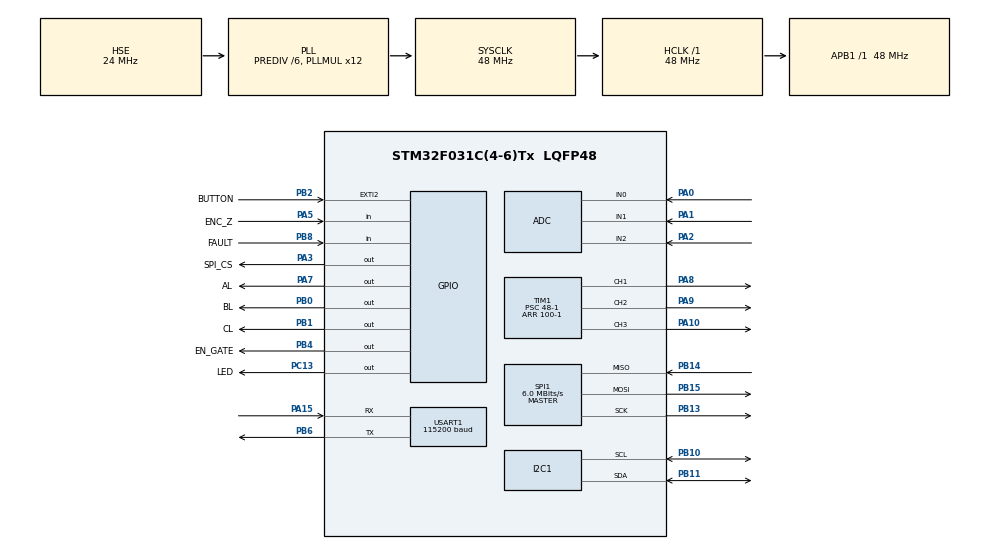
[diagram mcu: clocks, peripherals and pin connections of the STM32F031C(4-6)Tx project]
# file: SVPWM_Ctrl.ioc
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I2C1.Timing=0x20303E5D
Mcu.Family=STM32F0
Mcu.Name=STM32F031C(4-6)Tx
Mcu.Package=LQFP48
NVIC.EXTI2_3_IRQn=true\:0\:0\:false\:false\:true\:true\:true\:true
PA0.Mode=IN0
PA0.Signal=ADC_IN0
PA1.Mode=IN1
PA1.Signal=ADC_IN1
PA10.GPIO_PuPd=GPIO_PULLDOWN
PA10.GPIO_Speed=GPIO_SPEED_FREQ_HIGH
PA10.Signal=S_TIM1_CH3
PA13.Mode=Serial_Wire
PA13.Signal=SYS_SWDIO
PA14.Mode=Serial_Wire
PA14.Signal=SYS_SWCLK
PA15.Mode=Asynchronous
PA15.Signal=USART1_RX
PA2.Mode=IN2
PA2.Signal=ADC_IN2
PA3.GPIO_Label=SPI_CS
PA3.GPIO_PuPd=GPIO_PULLUP
PA3.GPIO_Speed=GPIO_SPEED_FREQ_HIGH
PA3.PinState=GPIO_PIN_SET
PA3.Signal=GPIO_Output
PA5.GPIO_Label=ENC_Z
PA5.Signal=GPIO_Input
PA7.GPIO_Label=AL
PA7.GPIO_PuPd=GPIO_PULLDOWN
PA7.GPIO_Speed=GPIO_SPEED_FREQ_HIGH
PA7.Signal=GPIO_Output
PA8.GPIO_PuPd=GPIO_PULLDOWN
PA8.GPIO_Speed=GPIO_SPEED_FREQ_HIGH
PA8.Signal=S_TIM1_CH1
PA9.GPIO_PuPd=GPIO_PULLDOWN
PA9.GPIO_Speed=GPIO_SPEED_FREQ_HIGH
PA9.Signal=S_TIM1_CH2
PB0.GPIO_Label=BL
PB0.GPIO_PuPd=GPIO_PULLDOWN
PB0.GPIO_Speed=GPIO_SPEED_FREQ_HIGH
PB0.Signal=GPIO_Output
PB1.GPIO_Label=CL
PB1.GPIO_PuPd=GPIO_PULLDOWN
PB1.GPIO_Speed=GPIO_SPEED_FREQ_HIGH
PB1.Signal=GPIO_Output
PB10.Mode=I2C
PB10.Signal=I2C1_SCL
PB11.Mode=I2C
PB11.Signal=I2C1_SDA
PB13.GPIO_PuPd=GPIO_PULLUP
PB13.Mode=Full_Duplex_Master
PB13.Signal=SPI1_SCK
PB14.GPIO_PuPd=GPIO_PULLUP
PB14.Mode=Full_Duplex_Master
PB14.Signal=SPI1_MISO
PB15.GPIO_PuPd=GPIO_PULLUP
PB15.Mode=Full_Duplex_Master
PB15.Signal=SPI1_MOSI
PB2.GPIO_Label=BUTTON
PB2.GPIO_ModeDefaultEXTI=GPIO_MODE_IT_FALLING
PB2.GPIO_PuPd=GPIO_PULLUP
PB2.Signal=GPXTI2
PB4.GPIO_Label=EN_GATE
PB4.GPIO_PuPd=GPIO_PULLUP
PB4.PinState=GPIO_PIN_SET
PB4.Signal=GPIO_Output
PB6.Mode=Asynchronous
PB6.Signal=USART1_TX
PB8.GPIO_Label=FAULT
PB8.GPIO_PuPd=GPIO_PULLUP
PB8.Signal=GPIO_Input
PC13.GPIO_Label=LED
PC13.PinState=GPIO_PIN_SET
PC13.Signal=GPIO_Output
PF0-OSC_IN.Mode=HSE-External-Oscillator
PF0-OSC_IN.Signal=RCC_OSC_IN
PF1-OSC_OUT.Mode=HSE-External-Oscillator
PF1-OSC_OUT.Signal=RCC_OSC_OUT
ProjectManager.HeapSize=0x200
ProjectManager.StackSize=0x400
ProjectManager.TargetToolchain=Makefile
RCC.AHBFreq_Value=48000000
RCC.APB1Freq_Value=48000000
RCC.APB1TimFreq_Value=48000000
RCC.HCLKFreq_Value=48000000
RCC.HSE_VALUE=24000000
RCC.I2c1ClockSelection=RCC_I2C1CLKSOURCE_SYSCLK
RCC.PLLDivider=RCC_PREDIV_DIV6
RCC.PLLMUL=RCC_PLL_MUL12
RCC.PLLSourceVirtual=RCC_PLLSOURCE_HSE
RCC.SYSCLKFreq_VALUE=48000000
RCC.SYSCLKSource=RCC_SYSCLKSOURCE_PLLCLK
SH.S_TIM1_CH1.0=TIM1_CH1,PWM Generation1 CH1
SH.S_TIM1_CH2.0=TIM1_CH2,PWM Generation2 CH2
SH.S_TIM1_CH3.0=TIM1_CH3,PWM Generation3 CH3
SPI1.BaudRatePrescaler=SPI_BAUDRATEPRESCALER_8
SPI1.CLKPhase=SPI_PHASE_2EDGE
SPI1.CLKPolarity=SPI_POLARITY_LOW
SPI1.CalculateBaudRate=6.0 MBits/s
SPI1.DataSize=SPI_DATASIZE_16BIT
SPI1.Direction=SPI_DIRECTION_2LINES
SPI1.Mode=SPI_MODE_MASTER
SPI1.VirtualType=VM_MASTER
TIM1.Channel-PWM\ Generation1\ CH1=TIM_CHANNEL_1
TIM1.Channel-PWM\ Generation2\ CH2=TIM_CHANNEL_2
TIM1.Channel-PWM\ Generation3\ CH3=TIM_CHANNEL_3
TIM1.Period=100-1
TIM1.Prescaler=48-1
USART1.BaudRate=115200
USART1.VirtualMode-Asynchronous=VM_ASYNC
board=custom

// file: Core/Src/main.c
/* USER CODE BEGIN Header */
/**
 ******************************************************************************
 * @file           : main.c
 * @brief          : Main program body
 ******************************************************************************
 * @attention
 *
 * Copyright (c) 2025 STMicroelectronics.
 * All rights reserved.
 *
 * This software is licensed under terms that can be found in the LICENSE file
 * in the root directory of this software component.
 * If no LICENSE file comes with this software, it is provided AS-IS.
 *
 ******************************************************************************
 */
/* USER CODE END Header */
#include "main.h"
#include "adc.h"
#include "i2c.h"
#include "spi.h"
#include "tim.h"
#include "usart.h"
#include "gpio.h"

/* USER CODE BEGIN Includes */
#include "drv8301.h"
#include "utils.h"
/* USER CODE END Includes */

void SystemClock_Config(void);

int main(void)
{

  /* MCU Configuration--------------------------------------------------------*/

  /* Reset of all peripherals, Initializes the Flash interface and the Systick. */
  HAL_Init();

  /* Configure the system clock */
  SystemClock_Config();

  /* Initialize all configured peripherals */
  MX_GPIO_Init();
  MX_ADC_Init();
  MX_I2C1_Init();
  MX_SPI1_Init();
  MX_USART1_UART_Init();
  MX_TIM1_Init();
  /* USER CODE BEGIN 2 */
  __HAL_TIM_SetCompare(&htim1, TIM_CHANNEL_1, 50);
  __HAL_TIM_SetCompare(&htim1, TIM_CHANNEL_2, 50);
  __HAL_TIM_SetCompare(&htim1, TIM_CHANNEL_3, 50);

  int16_t ret = 0;
  RegisterFile regs_;
  ret = DRV8301_Config(&regs_, 40.0f, NULL);
  if (ret != 0)
  {
    printf("DRV8301_Config Err:%d\r\n", ret);
  }
  ret = DRV8301_Init(&regs_);
  if (ret != 0)
  {
    printf("DRV8301_Init Err:%d\r\n", ret);
  }

  /* USER CODE END 2 */

  /* Infinite loop */
  while (1)
  {

    /* USER CODE BEGIN 3 */
    DRV8301_Motor_test(1);
    // HAL_GPIO_TogglePin(LED_GPIO_Port, LED_Pin);
		// HAL_Delay(1*1000);
  }
  /* USER CODE END 3 */
}

void SystemClock_Config(void)
{
  RCC_OscInitTypeDef RCC_OscInitStruct = {0};
  RCC_ClkInitTypeDef RCC_ClkInitStruct = {0};
  RCC_PeriphCLKInitTypeDef PeriphClkInit = {0};

  /** Initializes the RCC Oscillators according to the specified parameters
  * in the RCC_OscInitTypeDef structure.
  */
  RCC_OscInitStruct.OscillatorType = RCC_OSCILLATORTYPE_HSI14|RCC_OSCILLATORTYPE_HSE;
  RCC_OscInitStruct.HSEState = RCC_HSE_ON;
  RCC_OscInitStruct.HSI14State = RCC_HSI14_ON;
  RCC_OscInitStruct.HSI14CalibrationValue = 16;
  RCC_OscInitStruct.PLL.PLLState = RCC_PLL_ON;
  RCC_OscInitStruct.PLL.PLLSource = RCC_PLLSOURCE_HSE;
  RCC_OscInitStruct.PLL.PLLMUL = RCC_PLL_MUL12;
  RCC_OscInitStruct.PLL.PREDIV = RCC_PREDIV_DIV6;
  if (HAL_RCC_OscConfig(&RCC_OscInitStruct) != HAL_OK)
  {
    Error_Handler();
  }

  /** Initializes the CPU, AHB and APB buses clocks
  */
  RCC_ClkInitStruct.ClockType = RCC_CLOCKTYPE_HCLK|RCC_CLOCKTYPE_SYSCLK
                              |RCC_CLOCKTYPE_PCLK1;
  RCC_ClkInitStruct.SYSCLKSource = RCC_SYSCLKSOURCE_PLLCLK;
  RCC_ClkInitStruct.AHBCLKDivider = RCC_SYSCLK_DIV1;
  RCC_ClkInitStruct.APB1CLKDivider = RCC_HCLK_DIV1;

  if (HAL_RCC_ClockConfig(&RCC_ClkInitStruct, FLASH_LATENCY_1) != HAL_OK)
  {
    Error_Handler();
  }
  PeriphClkInit.PeriphClockSelection = RCC_PERIPHCLK_USART1|RCC_PERIPHCLK_I2C1;
  PeriphClkInit.Usart1ClockSelection = RCC_USART1CLKSOURCE_PCLK1;
  PeriphClkInit.I2c1ClockSelection = RCC_I2C1CLKSOURCE_SYSCLK;
  if (HAL_RCCEx_PeriphCLKConfig(&PeriphClkInit) != HAL_OK)
  {
    Error_Handler();
  }
}

/* USER CODE BEGIN 4 */
void HAL_GPIO_EXTI_Callback(uint16_t GPIO_Pin)
{
    if (GPIO_Pin == GPIO_PIN_2)
    {
        //HAL_GPIO_TogglePin(LED_GPIO_Port, LED_Pin);
				printf("start:%d\r\n",HAL_GetTick());
//				if(motor_status)
//				{
//					motor_status=0;
//					HAL_GPIO_WritePin(LED_GPIO_Port, LED_Pin, GPIO_PIN_SET);
//				}
//				else
//				{
//					motor_status=1;
//					HAL_GPIO_WritePin(LED_GPIO_Port, LED_Pin, GPIO_PIN_RESET);
//				}
				printf("end:%d fault:%d\r\n",HAL_GetTick(),HAL_GPIO_ReadPin(FAULT_GPIO_Port, FAULT_Pin));
    }
}
/* USER CODE END 4 */

void Error_Handler(void)
{
  __disable_irq();
  while (1)
  {
  }
}
